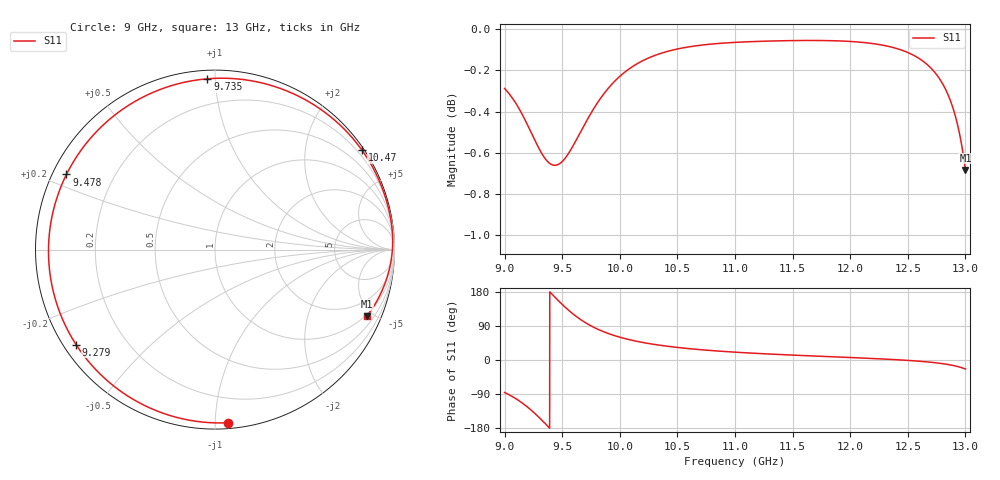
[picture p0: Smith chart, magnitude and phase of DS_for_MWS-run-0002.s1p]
! TOUCHSTONE file generated by CST DESIGN STUDIO
! Date and time: Tue Feb  4 15:57:16 2025
! Project name: C:\Work\MatlabApps\UnitCellOptimizationMatlab\CST\unitcell.cst
! Tree item: Tasks\Sweep1\SPara1\S-Parameters
! Header version: 2024
! Port assignment regex: !\s*Touchstone port\s*([0-9]+)\s*=\s*(CST MWS port|CST DES external port|CST DES block port)\s*(.+)\s* \(\"(.*)\"\)(\s*mode\s*([0-9]+))?.*
! Touchstone port assignment:
! Touchstone port 1 = CST DES external port 1 ("")
# GHz S MA R 50
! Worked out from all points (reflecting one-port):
!   4001 points, 9 GHz to 13 GHz, reference 50 ohm
!   lowest |S11| = -0.7 dB at 13 GHz (marker M1), VSWR 25.41, Z = 44.8 - j229 ohm
!   phase of S11 starts at -86 deg and turns -298 deg over the sweep
!   S11 on the Smith chart (normalised r, x): 9 GHz: 0.04, -1.08; 9.279 GHz: 0.04, -0.31; 9.478 GHz: 0.04, +0.24; 9.735 GHz: 0.05, +0.95; 10.47 GHz: 0.07, +3.27; 13 GHz: 0.90, -4.58
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9  0.9674 -85.7
9.02  0.966 -88.7
9.083  0.9608 -99.4
9.152  0.9536 -113.3
9.216  0.9457 -128.5
9.279  0.9377 -145.6
9.332  0.9319 -161.4
9.38  0.9282 -176.4
9.428  0.9267 168.5
9.478  0.9276 153.2
9.5  0.9286 146.7
9.555  0.9329 131.4
9.61  0.9386 117.7
9.669  0.9452 104.8
9.735  0.9526 92.6
9.861  0.9645 74.4
10  0.974 60.2
10.097  0.9788 52.6
10.206  0.9828 45.9
10.474  0.9886 34.0
10.5  0.989 33.1
11  0.9927 20.7
11.5  0.9937 12.9
12  0.9932 6.5
12.5  0.9871 -1.0
12.799  0.9703 -9.5
12.91  0.9532 -15.5
13  0.9243 -23.8
